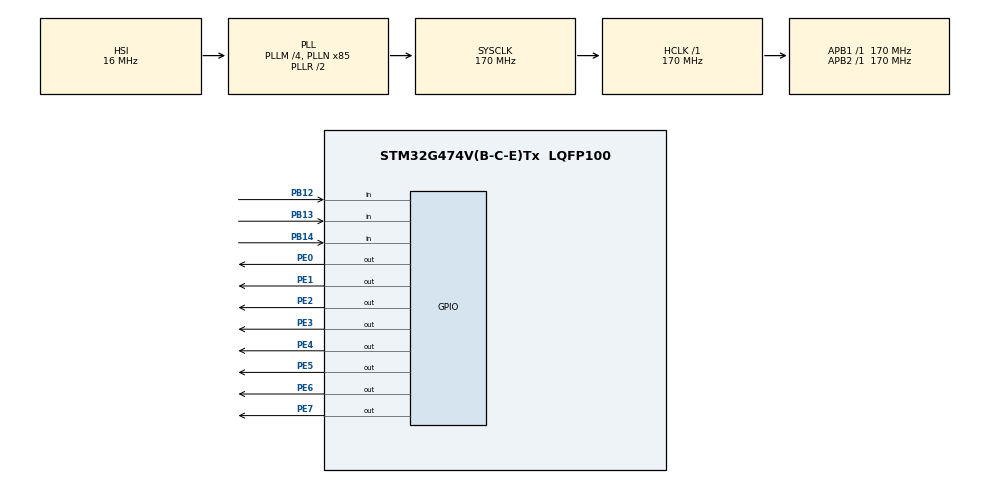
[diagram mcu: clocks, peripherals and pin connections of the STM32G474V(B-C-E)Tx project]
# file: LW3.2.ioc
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FREERTOS.Queues01=myQueue01,16,uint16_t,0,Dynamic,NULL,NULL
FREERTOS.Tasks01=defaultTask,0,128,StartDefaultTask,Default,NULL,Dynamic,NULL,NULL;buttonTaskA,0,128,StartButtonTaskA,Default,NULL,Dynamic,NULL,NULL;buttonTaskB,0,128,StartButtonTaskB,Default,NULL,Dynamic,NULL,NULL;buttonTaskC,0,128,StartButtonTaskC,Default,NULL,Dynamic,NULL,NULL
FREERTOS.configENABLE_FPU=0
FREERTOS.configTOTAL_HEAP_SIZE=4096
FREERTOS.configUSE_NEWLIB_REENTRANT=1
Mcu.Family=STM32G4
Mcu.Name=STM32G474V(B-C-E)Tx
Mcu.Package=LQFP100
NVIC.PriorityGroup=NVIC_PRIORITYGROUP_4
NVIC.TIM2_IRQn=true\:15\:0\:false\:false\:true\:false\:false\:true\:true
NVIC.TimeBase=TIM2_IRQn
NVIC.TimeBaseIP=TIM2
PB12.GPIO_PuPd=GPIO_PULLUP
PB12.Signal=GPIO_Input
PB13.GPIO_PuPd=GPIO_PULLUP
PB13.Signal=GPIO_Input
PB14.GPIO_PuPd=GPIO_PULLUP
PB14.Signal=GPIO_Input
PE0.GPIO_Speed=GPIO_SPEED_FREQ_VERY_HIGH
PE0.Signal=GPIO_Output
PE1.GPIO_Speed=GPIO_SPEED_FREQ_VERY_HIGH
PE1.Signal=GPIO_Output
PE2.GPIO_Speed=GPIO_SPEED_FREQ_VERY_HIGH
PE2.Signal=GPIO_Output
PE3.GPIO_Speed=GPIO_SPEED_FREQ_VERY_HIGH
PE3.Signal=GPIO_Output
PE4.GPIO_Speed=GPIO_SPEED_FREQ_VERY_HIGH
PE4.Signal=GPIO_Output
PE5.GPIO_Speed=GPIO_SPEED_FREQ_VERY_HIGH
PE5.Signal=GPIO_Output
PE6.GPIO_Speed=GPIO_SPEED_FREQ_VERY_HIGH
PE6.Signal=GPIO_Output
PE7.GPIO_Speed=GPIO_SPEED_FREQ_VERY_HIGH
PE7.Signal=GPIO_Output
ProjectManager.HeapSize=0x200
ProjectManager.StackSize=0x400
ProjectManager.TargetToolchain=STM32CubeIDE
RCC.ADC12Freq_Value=170000000
RCC.ADC345Freq_Value=170000000
RCC.AHBFreq_Value=170000000
RCC.APB1Freq_Value=170000000
RCC.APB1TimFreq_Value=170000000
RCC.APB2Freq_Value=170000000
RCC.APB2TimFreq_Value=170000000
RCC.CortexFreq_Value=170000000
RCC.EXTERNAL_CLOCK_VALUE=12288000
RCC.HCLKFreq_Value=170000000
RCC.HSE_VALUE=8000000
RCC.HSI48_VALUE=48000000
RCC.HSI_VALUE=16000000
RCC.LSE_VALUE=32768
RCC.PLLM=RCC_PLLM_DIV4
RCC.PLLN=85
RCC.SYSCLKFreq_VALUE=170000000
RCC.SYSCLKSource=RCC_SYSCLKSOURCE_PLLCLK
RCC.USBFreq_Value=170000000
RCC.VCOOutputFreq_Value=340000000
VP_FREERTOS_VS_CMSIS_V1.Mode=CMSIS_V1
VP_SYS_VS_DBSignals.Mode=DisableDeadBatterySignals
VP_SYS_VS_tim2.Mode=TIM2
board=custom

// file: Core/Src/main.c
/* USER CODE BEGIN Header */
/**
  ******************************************************************************
  * @file           : main.c
  * @brief          : Main program body
  ******************************************************************************
  * @attention
  *
  * Copyright (c) 2024 STMicroelectronics.
  * All rights reserved.
  *
  * This software is licensed under terms that can be found in the LICENSE file
  * in the root directory of this software component.
  * If no LICENSE file comes with this software, it is provided AS-IS.
  *
  ******************************************************************************
  */
/* USER CODE END Header */
#include "main.h"
#include "cmsis_os.h"
#include "stdbool.h"

osThreadId defaultTaskHandle;
osThreadId buttonTaskAHandle;
osThreadId buttonTaskBHandle;
osThreadId buttonTaskCHandle;
osMessageQId myQueue01Handle;

void SystemClock_Config(void);

static void MX_GPIO_Init(void);

void StartDefaultTask(void const *argument);

void StartButtonTaskA(void const *argument);

void StartButtonTaskB(void const *argument);

void StartButtonTaskC(void const *argument);

int main(void) {

  /* MCU Configuration--------------------------------------------------------*/

  /* Reset of all peripherals, Initializes the Flash interface and the Systick. */
  HAL_Init();

  /* Configure the system clock */
  SystemClock_Config();

  /* Initialize all configured peripherals */
  MX_GPIO_Init();

  /* Create the queue(s) */
  /* definition and creation of myQueue01 */
  osMessageQDef(myQueue01, 16, uint16_t);
  myQueue01Handle = osMessageCreate(osMessageQ(myQueue01), NULL);

  /* Create the thread(s) */
  /* definition and creation of defaultTask */
  osThreadDef(defaultTask, StartDefaultTask, osPriorityNormal, 0, 128);
  defaultTaskHandle = osThreadCreate(osThread(defaultTask), NULL);

  /* definition and creation of buttonTaskA */
  osThreadDef(buttonTaskA, StartButtonTaskA, osPriorityNormal, 0, 128);
  buttonTaskAHandle = osThreadCreate(osThread(buttonTaskA), NULL);

  /* definition and creation of buttonTaskB */
  osThreadDef(buttonTaskB, StartButtonTaskB, osPriorityNormal, 0, 128);
  buttonTaskBHandle = osThreadCreate(osThread(buttonTaskB), NULL);

  /* definition and creation of buttonTaskC */
  osThreadDef(buttonTaskC, StartButtonTaskC, osPriorityNormal, 0, 128);
  buttonTaskCHandle = osThreadCreate(osThread(buttonTaskC), NULL);

  /* Start scheduler */
  osKernelStart();

  /* We should never get here as control is now taken by the scheduler */
  /* Infinite loop */
  while (1) {

  }
}

void SystemClock_Config(void) {
  RCC_OscInitTypeDef RCC_OscInitStruct = {0};
  RCC_ClkInitTypeDef RCC_ClkInitStruct = {0};

  /** Configure the main internal regulator output voltage
  */
  HAL_PWREx_ControlVoltageScaling(PWR_REGULATOR_VOLTAGE_SCALE1_BOOST);

  /** Initializes the RCC Oscillators according to the specified parameters
  * in the RCC_OscInitTypeDef structure.
  */
  RCC_OscInitStruct.OscillatorType = RCC_OSCILLATORTYPE_HSI;
  RCC_OscInitStruct.HSIState = RCC_HSI_ON;
  RCC_OscInitStruct.HSICalibrationValue = RCC_HSICALIBRATION_DEFAULT;
  RCC_OscInitStruct.PLL.PLLState = RCC_PLL_ON;
  RCC_OscInitStruct.PLL.PLLSource = RCC_PLLSOURCE_HSI;
  RCC_OscInitStruct.PLL.PLLM = RCC_PLLM_DIV4;
  RCC_OscInitStruct.PLL.PLLN = 85;
  RCC_OscInitStruct.PLL.PLLP = RCC_PLLP_DIV2;
  RCC_OscInitStruct.PLL.PLLQ = RCC_PLLQ_DIV2;
  RCC_OscInitStruct.PLL.PLLR = RCC_PLLR_DIV2;
  if (HAL_RCC_OscConfig(&RCC_OscInitStruct) != HAL_OK) {
    Error_Handler();
  }

  /** Initializes the CPU, AHB and APB buses clocks
  */
  RCC_ClkInitStruct.ClockType = RCC_CLOCKTYPE_HCLK | RCC_CLOCKTYPE_SYSCLK
                                | RCC_CLOCKTYPE_PCLK1 | RCC_CLOCKTYPE_PCLK2;
  RCC_ClkInitStruct.SYSCLKSource = RCC_SYSCLKSOURCE_PLLCLK;
  RCC_ClkInitStruct.AHBCLKDivider = RCC_SYSCLK_DIV1;
  RCC_ClkInitStruct.APB1CLKDivider = RCC_HCLK_DIV1;
  RCC_ClkInitStruct.APB2CLKDivider = RCC_HCLK_DIV1;

  if (HAL_RCC_ClockConfig(&RCC_ClkInitStruct, FLASH_LATENCY_4) != HAL_OK) {
    Error_Handler();
  }
}

static void MX_GPIO_Init(void) {
  GPIO_InitTypeDef GPIO_InitStruct = {0};

  /* GPIO Ports Clock Enable */
  __HAL_RCC_GPIOE_CLK_ENABLE();
  __HAL_RCC_GPIOB_CLK_ENABLE();

  /*Configure GPIO pin Output Level */
  HAL_GPIO_WritePin(GPIOE, GPIO_PIN_2 | GPIO_PIN_3 | GPIO_PIN_4 | GPIO_PIN_5
                           | GPIO_PIN_6 | GPIO_PIN_7 | GPIO_PIN_0 | GPIO_PIN_1, GPIO_PIN_RESET);

  /*Configure GPIO pins : PE2 PE3 PE4 PE5
                           PE6 PE7 PE0 PE1 */
  GPIO_InitStruct.Pin = GPIO_PIN_2 | GPIO_PIN_3 | GPIO_PIN_4 | GPIO_PIN_5
                        | GPIO_PIN_6 | GPIO_PIN_7 | GPIO_PIN_0 | GPIO_PIN_1;
  GPIO_InitStruct.Mode = GPIO_MODE_OUTPUT_PP;
  GPIO_InitStruct.Pull = GPIO_NOPULL;
  GPIO_InitStruct.Speed = GPIO_SPEED_FREQ_VERY_HIGH;
  HAL_GPIO_Init(GPIOE, &GPIO_InitStruct);

  /*Configure GPIO pins : PB12 PB13 PB14 */
  GPIO_InitStruct.Pin = GPIO_PIN_12 | GPIO_PIN_13 | GPIO_PIN_14;
  GPIO_InitStruct.Mode = GPIO_MODE_INPUT;
  GPIO_InitStruct.Pull = GPIO_PULLUP;
  HAL_GPIO_Init(GPIOB, &GPIO_InitStruct);

}

void StartDefaultTask(void const *argument) {
  /* USER CODE BEGIN 5 */
  bool flag = 0;
  uint32_t ledDelay = 100;
  uint8_t i = 0;
  /* Infinite loop */
  for (;;) {
    osEvent event = osMessageGet(myQueue01Handle, 10);

    if (event.status == osEventMessage) {
      if (event.value.v == 0) {
        flag = 0;
      } else if (event.value.v == 1) {
        flag = 1;
      } else if (event.value.v == 2 && ledDelay > 25) {
        ledDelay -= 25;
      } else if (event.value.v == 3) {
        ledDelay += 25;
      }
    }

    if (flag == 1) {
      HAL_GPIO_WritePin(GPIOE, GPIO_PIN_0 << i, GPIO_PIN_SET);
      HAL_Delay(ledDelay);
      HAL_GPIO_WritePin(GPIOE, GPIO_PIN_0 << i, GPIO_PIN_RESET);
      if (i < 7) i++;
      else i = 0;
    } else HAL_GPIO_WritePin(GPIOE, (uint16_t) 0x00ff, GPIO_PIN_RESET);
  }
  /* USER CODE END 5 */
}

void StartButtonTaskA(void const *argument) {
  /* USER CODE BEGIN StartButtonTaskA */
  uint8_t count = 0;
  /* Infinite loop */
  for (;;) {
    if (HAL_GPIO_ReadPin(GPIOB, GPIO_PIN_12) == 0) {
      while (HAL_GPIO_ReadPin(GPIOB, GPIO_PIN_12) == 0);

      count = (count + 1) % 2;

      if (count == 0) {
        osMessagePut(myQueue01Handle, 0, 10);
      } else if (count == 1) {
        osMessagePut(myQueue01Handle, 1, 10);
      }
    }
  }
  /* USER CODE END StartButtonTaskA */
}

void StartButtonTaskB(void const *argument) {
  /* USER CODE BEGIN StartButtonTaskB */
  /* Infinite loop */
  for (;;) {
    if (HAL_GPIO_ReadPin(GPIOB, GPIO_PIN_13) == 0) {
      while (HAL_GPIO_ReadPin(GPIOB, GPIO_PIN_13) == 0);

      osMessagePut(myQueue01Handle, 2, 10);
    }
  }
  /* USER CODE END StartButtonTaskB */
}

void StartButtonTaskC(void const *argument) {
  /* USER CODE BEGIN StartButtonTaskC */
  /* Infinite loop */
  for (;;) {
    if (HAL_GPIO_ReadPin(GPIOB, GPIO_PIN_14) == 0) {
      while (HAL_GPIO_ReadPin(GPIOB, GPIO_PIN_14) == 0);

      osMessagePut(myQueue01Handle, 3, 10);
    }
  }
  /* USER CODE END StartButtonTaskC */
}

void HAL_TIM_PeriodElapsedCallback(TIM_HandleTypeDef *htim) {
  if (htim->Instance == TIM2) {
    HAL_IncTick();
  }
}

void Error_Handler(void) {
  __disable_irq();
  while (1) {
  }
}
